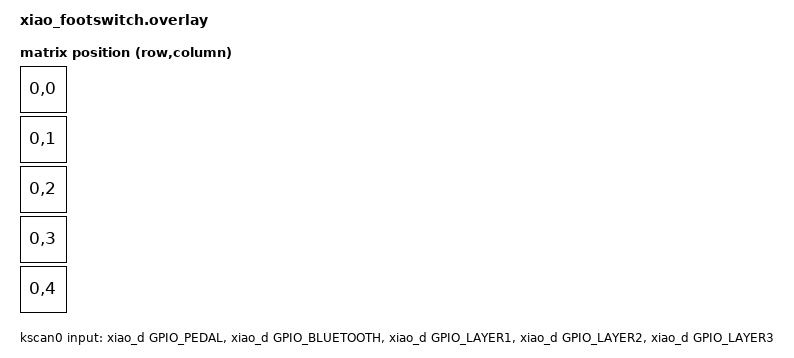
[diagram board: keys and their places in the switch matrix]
#include <dt-bindings/zmk/matrix_transform.h>

// Pinout
#define GPIO_PEDAL 2
#define GPIO_BLUETOOTH 1
#define GPIO_LAYER1 5
#define GPIO_LAYER2 4
#define GPIO_LAYER3 3

#define GPIO_LEDR 8
#define GPIO_LEDG 9
#define GPIO_LEDB 10

/ {
    chosen {
        zmk,kscan = &kscan0;
        zmk,matrix_transform = &default_transform;
    };

    leds {
        compatible = "gpio-leds";
        ledr: led_r {
            gpios = <&xiao_d GPIO_LEDR GPIO_ACTIVE_HIGH>;
            label = "LED RED";
            status = "okay";
        };
        ledg: led_g {
            gpios = <&xiao_d GPIO_LEDG GPIO_ACTIVE_HIGH>;
            label = "LED GREEN";
            status = "okay";
        };
        ledb: led_b {
            gpios = <&xiao_d GPIO_LEDB GPIO_ACTIVE_HIGH>;
            label = "LED BLUE";
            status = "okay";
        };
    };

    kscan0: kscan_0 {
        compatible = "zmk,kscan-gpio-direct";
        label = "KSCAN0";

        input-gpios = <
            &xiao_d GPIO_PEDAL (GPIO_ACTIVE_LOW | GPIO_PULL_UP) 
            &xiao_d GPIO_BLUETOOTH (GPIO_ACTIVE_LOW | GPIO_PULL_UP)
            &xiao_d GPIO_LAYER1 (GPIO_ACTIVE_LOW | GPIO_PULL_UP) 
            &xiao_d GPIO_LAYER2 (GPIO_ACTIVE_LOW | GPIO_PULL_UP) 
            &xiao_d GPIO_LAYER3 (GPIO_ACTIVE_LOW | GPIO_PULL_UP) 
        >;
    };


    // direct kscan needs a matrix transform, apparently. 
    default_transform: matrix_transform {
        compatible = "zmk,matrix-transform";
        rows = <5>;
        columns = <1>;
        map = <
            RC(0,0)
            RC(0,1)
            RC(0,2)
            RC(0,3)
            RC(0,4)
        >;
    };
};
